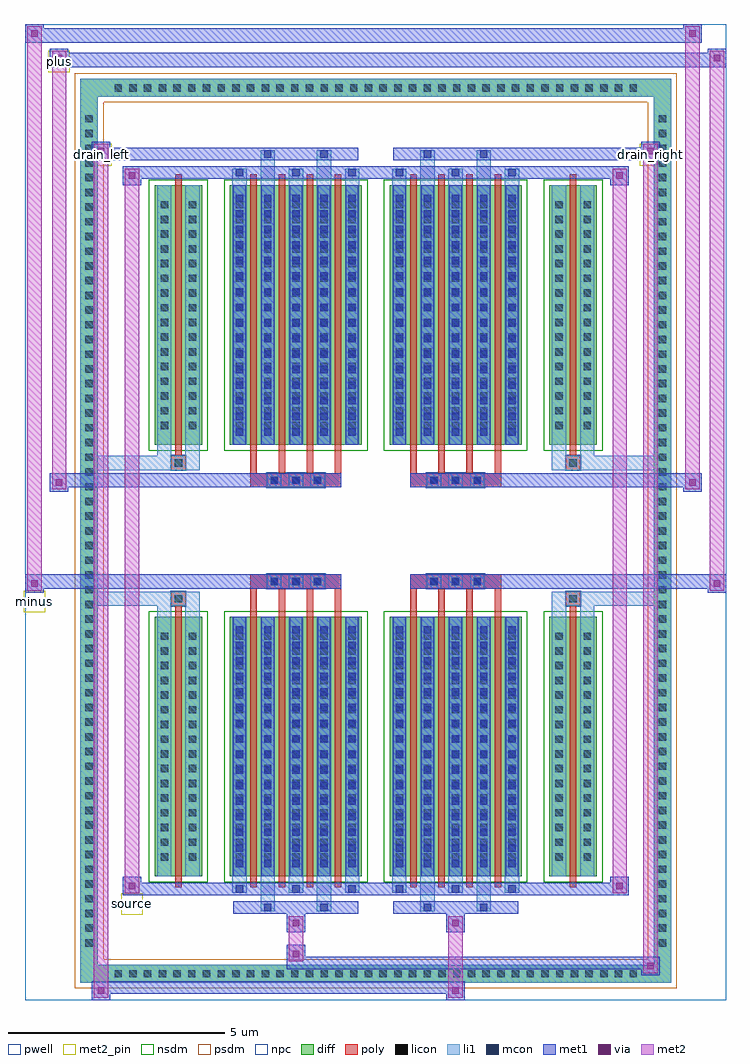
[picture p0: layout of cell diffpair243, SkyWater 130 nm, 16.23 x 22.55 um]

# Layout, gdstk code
import gdstk
lib = gdstk.Library(unit=1e-6, precision=5e-09)
def R(c, l, rs):  # rectangles x0, y0, x1, y1
    for r in rs: c.add(gdstk.rectangle(r[:2], r[2:], *l))
def A(c, l, x, y, w, h, nx, ny, dx, dy):  # array of equal rectangles
    R(c, l, [(x+i*dx, y+j*dy, x+i*dx+w, y+j*dy+h) for i in range(nx) for j in range(ny)])
def P(c, l, *ps):  # polygons
    for p in ps: c.add(gdstk.Polygon(p, *l))
pwell = (64, 44)
diff = (65, 20)
poly = (66, 20)
licon = (66, 44)
li1 = (67, 20)
mcon = (67, 44)
met1 = (68, 20)
via = (68, 44)
met2_pin = (69, 16)
met2 = (69, 20)
nsdm = (93, 44)
psdm = (94, 20)
npc = (95, 20)

diffpair243 = lib.new_cell('diffpair243')
R(diffpair243, pwell, [(-8.1,-10.84,8.1,11.71), (-5.42,-9.03,-0.01,-0.805), (0.01,-9.03,5.42,-0.805), (-5.42,0.805,-0.01,9.03), (0.01,0.805,5.42,9.03)])
A(diffpair243, diff, -6.155, -10.44, 0.41, 0.41, 36, 2, 0.34, 20.47)
A(diffpair243, diff, -6.83, -9.725, 0.41, 0.41, 1, 57, 0, 0.34)
A(diffpair243, diff, 6.42, -9.725, 0.41, 0.41, 1, 57, 0, 0.34)
R(diffpair243, diff, [(-6.155,-10.44,6.155,-10.03), (-6.83,-9.725,-6.42,9.725), (6.42,-9.725,6.83,9.725), (-5.11,-7.985,-4.01,-1.985), (-3.37,-7.985,-0.32,-1.985), (0.32,-7.985,3.37,-1.985), (4.01,-7.985,5.11,-1.985), (-5.11,1.985,-4.01,7.985), (-3.37,1.985,-0.32,7.985), (0.32,1.985,3.37,7.985), (4.01,1.985,5.11,7.985), (-6.155,10.03,6.155,10.44)])
P(diffpair243, diff, [(6.83,10.44),(-6.83,10.44),(-6.83,-10.03),(-6.42,-10.03),(-6.42,10.03),(6.42,10.03),(6.42,-10.03),(-6.42,-10.03),(-6.83,-10.03),(-6.83,-10.44),(6.83,-10.44)])
A(diffpair243, poly, -2.895, -8.235, 0.15, 6.5, 4, 2, 0.65, 9.97)
A(diffpair243, poly, 0.795, -8.235, 0.15, 6.5, 4, 2, 0.65, 9.97)
A(diffpair243, poly, -2.895, -1.735, 0.15, 0.4, 4, 2, 0.65, 3.07)
A(diffpair243, poly, 0.795, -1.735, 0.15, 0.4, 4, 2, 0.65, 3.07)
A(diffpair243, poly, -2.51, -1.335, 0.33, 0.33, 3, 2, 0.5, 2.34)
A(diffpair243, poly, 1.18, -1.335, 0.33, 0.33, 3, 2, 0.5, 2.34)
R(diffpair243, poly, [(-4.635,-8.235,-4.485,-1.735), (4.485,-8.235,4.635,-1.735), (-4.725,-1.735,-4.395,-1.405), (-4.725,-1.735,-4.395,-1.405), (4.395,-1.735,4.725,-1.405), (4.395,-1.735,4.725,-1.405), (-2.895,-1.335,-0.795,-1.005), (0.795,-1.335,2.895,-1.005), (-2.895,1.005,-0.795,1.335), (0.795,1.005,2.895,1.335), (-4.725,1.405,-4.395,1.735), (-4.725,1.405,-4.395,1.735), (4.395,1.405,4.725,1.735), (4.395,1.405,4.725,1.735), (-4.635,1.735,-4.485,8.235), (4.485,1.735,4.635,8.235)])
A(diffpair243, licon, -6.035, -10.32, 0.17, 0.17, 36, 2, 0.34, 20.47)
A(diffpair243, licon, -6.71, -9.605, 0.17, 0.17, 1, 57, 0, 0.34)
A(diffpair243, licon, 6.54, -9.605, 0.17, 0.17, 1, 57, 0, 0.34)
A(diffpair243, licon, -4.97, -7.62, 0.17, 0.17, 1, 16, 0, 0.34)
A(diffpair243, licon, -4.32, -7.62, 0.17, 0.17, 1, 16, 0, 0.34)
A(diffpair243, licon, -3.23, -7.62, 0.17, 0.17, 5, 16, 0.65, 0.34)
A(diffpair243, licon, 0.46, -7.62, 0.17, 0.17, 5, 16, 0.65, 0.34)
A(diffpair243, licon, 4.15, -7.62, 0.17, 0.17, 1, 16, 0, 0.34)
A(diffpair243, licon, 4.8, -7.62, 0.17, 0.17, 1, 16, 0, 0.34)
A(diffpair243, licon, -2.43, -1.255, 0.17, 0.17, 3, 2, 0.5, 2.34)
A(diffpair243, licon, 1.26, -1.255, 0.17, 0.17, 3, 2, 0.5, 2.34)
A(diffpair243, licon, -4.97, 2.35, 0.17, 0.17, 1, 16, 0, 0.34)
A(diffpair243, licon, -4.32, 2.35, 0.17, 0.17, 1, 16, 0, 0.34)
A(diffpair243, licon, -3.23, 2.35, 0.17, 0.17, 5, 16, 0.65, 0.34)
A(diffpair243, licon, 0.46, 2.35, 0.17, 0.17, 5, 16, 0.65, 0.34)
A(diffpair243, licon, 4.15, 2.35, 0.17, 0.17, 1, 16, 0, 0.34)
A(diffpair243, licon, 4.8, 2.35, 0.17, 0.17, 1, 16, 0, 0.34)
R(diffpair243, licon, [(-4.645,-1.655,-4.475,-1.485), (4.475,-1.655,4.645,-1.485), (-4.645,1.485,-4.475,1.655), (4.475,1.485,4.645,1.655)])
A(diffpair243, li1, -6.115, -10.4, 0.33, 0.33, 36, 2, 0.34, 20.47)
A(diffpair243, li1, -6.79, -9.685, 0.33, 0.33, 1, 57, 0, 0.34)
A(diffpair243, li1, 6.46, -9.685, 0.33, 0.33, 1, 57, 0, 0.34)
A(diffpair243, li1, -3.31, -8.36, 0.33, 0.375, 3, 2, 1.3, 16.345)
A(diffpair243, li1, -3.23, -8.36, 0.17, 0.17, 3, 2, 1.3, 16.55)
A(diffpair243, li1, 0.38, -8.36, 0.33, 0.375, 3, 2, 1.3, 16.345)
A(diffpair243, li1, 0.46, -8.36, 0.17, 0.17, 3, 2, 1.3, 16.55)
A(diffpair243, li1, -3.31, -7.985, 0.33, 6, 5, 2, 0.65, 9.97)
A(diffpair243, li1, 0.38, -7.985, 0.33, 6, 5, 2, 0.65, 9.97)
A(diffpair243, li1, -3.23, -7.77, 0.17, 0.17, 5, 16, 0.65, 0.36)
A(diffpair243, li1, -3.23, -7.77, 0.17, 5.57, 5, 2, 0.65, 9.97)
A(diffpair243, li1, 0.46, -7.77, 0.17, 0.17, 5, 16, 0.65, 0.36)
A(diffpair243, li1, 0.46, -7.77, 0.17, 5.57, 5, 2, 0.65, 9.97)
A(diffpair243, li1, -5.05, -7.7, 0.33, 0.33, 1, 16, 0, 0.34)
A(diffpair243, li1, -4.4, -7.7, 0.33, 0.33, 1, 16, 0, 0.34)
A(diffpair243, li1, -3.31, -7.7, 0.33, 0.33, 5, 16, 0.65, 0.34)
A(diffpair243, li1, 0.38, -7.7, 0.33, 0.33, 5, 16, 0.65, 0.34)
A(diffpair243, li1, 4.07, -7.7, 0.33, 0.33, 1, 16, 0, 0.34)
A(diffpair243, li1, 4.72, -7.7, 0.33, 0.33, 1, 16, 0, 0.34)
A(diffpair243, li1, -2.51, -1.335, 0.33, 0.33, 3, 2, 0.5, 2.34)
A(diffpair243, li1, 1.18, -1.335, 0.33, 0.33, 3, 2, 0.5, 2.34)
A(diffpair243, li1, -3.23, 2.2, 0.17, 0.17, 5, 16, 0.65, 0.36)
A(diffpair243, li1, 0.46, 2.2, 0.17, 0.17, 5, 16, 0.65, 0.36)
A(diffpair243, li1, -5.05, 2.27, 0.33, 0.33, 1, 16, 0, 0.34)
A(diffpair243, li1, -4.4, 2.27, 0.33, 0.33, 1, 16, 0, 0.34)
A(diffpair243, li1, -3.31, 2.27, 0.33, 0.33, 5, 16, 0.65, 0.34)
A(diffpair243, li1, 0.38, 2.27, 0.33, 0.33, 5, 16, 0.65, 0.34)
A(diffpair243, li1, 4.07, 2.27, 0.33, 0.33, 1, 16, 0, 0.34)
A(diffpair243, li1, 4.72, 2.27, 0.33, 0.33, 1, 16, 0, 0.34)
R(diffpair243, li1, [(-6.83,-10.44,-6.42,-10.03), (-6.83,-10.44,-6.42,-10.03), (-6.42,-10.44,6.42,-10.03), (6.42,-10.44,6.83,-10.03), (6.42,-10.44,6.83,-10.03), (-6.83,-10.03,-6.42,10.03), (6.42,-10.03,6.83,10.03), (-2.66,-8.79,-2.33,-7.985), (-2.58,-8.79,-2.41,-8.62), (-1.36,-8.79,-1.03,-7.985), (-1.28,-8.79,-1.11,-8.62), (1.03,-8.79,1.36,-7.985), (1.11,-8.79,1.28,-8.62), (2.33,-8.79,2.66,-7.985), (2.41,-8.79,2.58,-8.62), (-5.05,-7.985,-4.72,-1.985), (-4.4,-7.985,-4.07,-1.985), (4.07,-7.985,4.4,-1.985), (4.72,-7.985,5.05,-1.985), (-5.05,-1.985,-4.72,-1.405), (-4.4,-1.985,-4.07,-1.405), (4.07,-1.985,4.4,-1.405), (4.72,-1.985,5.05,-1.405), (-6.83,-1.735,-4.725,-1.405), (-5.05,-1.735,-4.725,-1.405), (-4.725,-1.735,-4.395,-1.405), (-4.395,-1.735,-4.07,-1.405), (4.07,-1.735,4.395,-1.405), (4.395,-1.735,4.725,-1.405), (4.395,-1.735,6.83,-1.405), (4.725,-1.735,5.05,-1.405), (-6.83,1.405,-4.725,1.735), (-5.05,1.405,-4.725,1.735), (-5.05,1.405,-4.72,1.985), (-4.725,1.405,-4.395,1.735), (-4.4,1.405,-4.07,1.985), (-4.395,1.405,-4.07,1.735), (4.07,1.405,4.395,1.735), (4.07,1.405,4.4,1.985), (4.395,1.405,4.725,1.735), (4.395,1.405,6.83,1.735), (4.72,1.405,5.05,1.985), (4.725,1.405,5.05,1.735), (-5.05,1.985,-4.72,7.985), (-4.4,1.985,-4.07,7.985), (4.07,1.985,4.4,7.985), (4.72,1.985,5.05,7.985), (-2.66,7.985,-2.33,8.79), (-1.36,7.985,-1.03,8.79), (1.03,7.985,1.36,8.79), (2.33,7.985,2.66,8.79), (-2.58,8.62,-2.41,8.79), (-1.28,8.62,-1.11,8.79), (1.11,8.62,1.28,8.79), (2.41,8.62,2.58,8.79), (-6.83,10.03,-6.42,10.44), (-6.83,10.03,-6.42,10.44), (-6.42,10.03,6.42,10.44), (6.42,10.03,6.83,10.44), (6.42,10.03,6.83,10.44)])
A(diffpair243, mcon, -3.23, -8.36, 0.17, 0.17, 3, 2, 1.3, 16.55)
A(diffpair243, mcon, 0.46, -8.36, 0.17, 0.17, 3, 2, 1.3, 16.55)
A(diffpair243, mcon, -3.23, -7.77, 0.17, 0.17, 5, 16, 0.65, 0.36)
A(diffpair243, mcon, 0.46, -7.77, 0.17, 0.17, 5, 16, 0.65, 0.36)
A(diffpair243, mcon, -2.43, -1.255, 0.17, 0.17, 3, 2, 0.5, 2.34)
A(diffpair243, mcon, 1.26, -1.255, 0.17, 0.17, 3, 2, 0.5, 2.34)
A(diffpair243, mcon, -3.23, 2.2, 0.17, 0.17, 5, 16, 0.65, 0.36)
A(diffpair243, mcon, 0.46, 2.2, 0.17, 0.17, 5, 16, 0.65, 0.36)
R(diffpair243, mcon, [(-2.58,-8.79,-2.41,-8.62), (-1.28,-8.79,-1.11,-8.62), (1.11,-8.79,1.28,-8.62), (2.41,-8.79,2.58,-8.62), (-2.58,8.62,-2.41,8.79), (-1.28,8.62,-1.11,8.79), (1.11,8.62,1.28,8.79), (2.41,8.62,2.58,8.79)])
A(diffpair243, met1, -3.29, -8.42, 0.29, 0.29, 3, 2, 1.3, 16.55)
A(diffpair243, met1, 0.4, -8.42, 0.29, 0.29, 3, 2, 1.3, 16.55)
A(diffpair243, met1, -3.29, -7.985, 0.29, 6, 5, 2, 0.65, 9.97)
A(diffpair243, met1, 0.4, -7.985, 0.29, 6, 5, 2, 0.65, 9.97)
A(diffpair243, met1, -3.29, -7.83, 0.29, 0.29, 5, 16, 0.65, 0.36)
A(diffpair243, met1, 0.4, -7.83, 0.29, 0.29, 5, 16, 0.65, 0.36)
A(diffpair243, met1, -2.49, -1.315, 0.29, 0.29, 3, 2, 0.5, 2.34)
A(diffpair243, met1, 1.2, -1.315, 0.29, 0.29, 3, 2, 0.5, 2.34)
A(diffpair243, met1, -3.29, 2.14, 0.29, 0.29, 5, 16, 0.65, 0.36)
A(diffpair243, met1, 0.4, 2.14, 0.29, 0.29, 5, 16, 0.65, 0.36)
R(diffpair243, met1, [(-6.56,-10.84,-6.13,-10.41), (1.63,-10.84,2.06,-10.41), (-6.56,-10.7,2.06,-10.41), (6.13,-10.27,6.56,-9.84), (-2.06,-10.13,6.56,-9.84), (-2.06,-9.99,-1.63,-9.56), (-2.06,-9.28,-1.63,-8.85), (1.63,-9.28,2.06,-8.85), (-3.29,-8.85,-0.4,-8.56), (-2.64,-8.85,-2.35,-8.56), (-1.34,-8.85,-1.05,-8.56), (0.4,-8.85,3.29,-8.56), (1.05,-8.85,1.34,-8.56), (2.35,-8.85,2.64,-8.56), (-5.85,-8.42,-5.42,-7.99), (-5.85,-8.42,-3.29,-8.13), (-3.29,-8.42,-0.4,-8.13), (-0.4,-8.42,0.4,-8.13), (0.4,-8.42,3.29,-8.13), (3.29,-8.42,5.85,-8.13), (5.42,-8.42,5.85,-7.99), (-8.1,-1.435,-7.67,-1.005), (7.67,-1.435,8.1,-1.005), (-8.1,-1.335,-0.795,-1.005), (-2.895,-1.335,-0.795,-1.005), (0.795,-1.335,2.895,-1.005), (0.795,-1.335,8.1,-1.005), (-7.53,0.905,-7.1,1.335), (7.1,0.905,7.53,1.335), (-7.53,1.005,-2.895,1.335), (-2.895,1.005,-0.795,1.335), (0.795,1.005,2.895,1.335), (2.895,1.005,7.53,1.335), (-5.85,7.99,-5.42,8.42), (5.42,7.99,5.85,8.42), (-5.85,8.13,-3.29,8.42), (-3.29,8.13,-0.4,8.42), (-0.4,8.13,0.4,8.42), (0.4,8.13,3.29,8.42), (3.29,8.13,5.85,8.42), (-6.56,8.56,-6.13,8.99), (-6.56,8.56,-3.29,8.85), (-3.29,8.56,-0.4,8.85), (-2.64,8.56,-2.35,8.85), (-1.34,8.56,-1.05,8.85), (0.4,8.56,3.29,8.85), (1.05,8.56,1.34,8.85), (2.35,8.56,2.64,8.85), (3.29,8.56,6.56,8.85), (6.13,8.56,6.56,8.99), (-7.53,10.71,-7.1,11.14), (-7.53,10.71,-5.42,11.04), (-5.42,10.71,5.42,11.04), (5.42,10.71,8.1,11.04), (7.67,10.71,8.1,11.14), (-8.1,11.28,-7.67,11.71), (-8.1,11.28,-5.42,11.61), (-5.42,11.28,5.42,11.61), (5.42,11.28,7.53,11.61), (7.1,11.28,7.53,11.71)])
R(diffpair243, via, [(-6.42,-10.7,-6.27,-10.55), (1.77,-10.7,1.92,-10.55), (6.27,-10.13,6.42,-9.98), (-1.92,-9.85,-1.77,-9.7), (-1.92,-9.14,-1.77,-8.99), (1.77,-9.14,1.92,-8.99), (-5.71,-8.28,-5.56,-8.13), (5.56,-8.28,5.71,-8.13), (-7.96,-1.295,-7.81,-1.145), (7.81,-1.295,7.96,-1.145), (-7.39,1.045,-7.24,1.195), (7.24,1.045,7.39,1.195), (-5.71,8.13,-5.56,8.28), (5.56,8.13,5.71,8.28), (-6.42,8.7,-6.27,8.85), (6.27,8.7,6.42,8.85), (-7.39,10.85,-7.24,11), (7.81,10.85,7.96,11), (-7.96,11.42,-7.81,11.57), (7.24,11.42,7.39,11.57)])
R(diffpair243, met2_pin, [(-5.885,-8.87,-5.385,-8.37), (-8.135,-1.885,-7.635,-1.385), (-6.595,8.44,-6.095,8.94), (6.095,8.44,6.595,8.94), (-7.565,10.59,-7.065,11.09)])
R(diffpair243, met2, [(-6.51,-10.79,-6.18,-10.46), (-6.51,-10.79,-6.18,8.94), (1.68,-10.79,2.01,-10.46), (1.68,-10.46,2.01,-9.23), (6.18,-10.22,6.51,-9.89), (6.18,-10.22,6.51,8.94), (-2.01,-9.94,-1.68,-9.61), (-2.01,-9.61,-1.68,-9.23), (-2.01,-9.23,-1.68,-8.9), (1.68,-9.23,2.01,-8.9), (-5.8,-8.37,-5.47,-8.04), (-5.8,-8.37,-5.47,8.37), (5.47,-8.37,5.8,-8.04), (5.47,-8.37,5.8,8.37), (-8.05,-1.385,-7.72,-1.055), (-8.05,-1.385,-7.72,11.66), (7.72,-1.385,8.05,-1.055), (7.72,-1.385,8.05,11.09), (-7.48,0.955,-7.15,1.285), (-7.48,0.955,-7.15,11.09), (7.15,0.955,7.48,1.285), (7.15,0.955,7.48,11.66), (-5.8,8.04,-5.47,8.37), (5.47,8.04,5.8,8.37), (-6.51,8.61,-6.18,8.94), (6.18,8.61,6.51,8.94), (-7.48,10.76,-7.15,11.09), (7.72,10.76,8.05,11.09), (-8.05,11.33,-7.72,11.66), (7.15,11.33,7.48,11.66)])
P(diffpair243, met2, [(8.05,-1.385),(8.05,-1.385),(8.05,-1.055),(8.05,-1.055)],
  [(8.05,10.76),(8.05,10.76),(8.05,11.09),(8.05,11.09)],
  [(-7.72,-1.385),(-7.72,-1.385),(-7.72,-1.055),(-7.72,-1.055)],
  [(-7.72,11.33),(-7.72,11.33),(-7.72,11.66),(-7.72,11.66)],
  [(7.48,0.955),(7.48,0.955),(7.48,1.285),(7.48,1.285)],
  [(7.48,11.33),(7.48,11.33),(7.48,11.66),(7.48,11.66)],
  [(-7.15,0.955),(-7.15,0.955),(-7.15,1.285),(-7.15,1.285)],
  [(-7.15,10.76),(-7.15,10.76),(-7.15,11.09),(-7.15,11.09)],
  [(-6.18,-10.79),(-6.18,-10.79),(-6.18,-10.46),(-6.18,-10.46)],
  [(-6.18,8.61),(-6.18,8.61),(-6.18,8.94),(-6.18,8.94)],
  [(6.51,-10.22),(6.51,-10.22),(6.51,-9.89),(6.51,-9.89)],
  [(6.51,8.61),(6.51,8.61),(6.51,8.94),(6.51,8.94)],
  [(-5.47,-8.37),(-5.47,-8.37),(-5.47,-8.04),(-5.47,-8.04)],
  [(-5.47,8.04),(-5.47,8.04),(-5.47,8.37),(-5.47,8.37)],
  [(5.8,-8.37),(5.8,-8.37),(5.8,-8.04),(5.8,-8.04)],
  [(5.8,8.04),(5.8,8.04),(5.8,8.37),(5.8,8.37)])
R(diffpair243, nsdm, [(-5.24,-8.115,-3.88,-1.855), (-3.5,-8.115,-0.19,-1.855), (0.19,-8.115,3.5,-1.855), (3.88,-8.115,5.24,-1.855), (-5.24,1.855,-3.88,8.115), (-3.5,1.855,-0.19,8.115), (0.19,1.855,3.5,8.115), (3.88,1.855,5.24,8.115)])
P(diffpair243, psdm, [(6.96,10.57),(-6.96,10.57),(-6.96,-9.9),(-6.29,-9.9),(-6.29,9.9),(6.29,9.9),(6.29,-9.9),(-6.29,-9.9),(-6.96,-9.9),(-6.96,-10.57),(6.96,-10.57)])
A(diffpair243, npc, -2.53, -1.355, 0.37, 0.37, 3, 2, 0.5, 2.34)
A(diffpair243, npc, 1.16, -1.355, 0.37, 0.37, 3, 2, 0.5, 2.34)
R(diffpair243, npc, [(-4.745,-1.755,-4.375,-1.385), (4.375,-1.755,4.745,-1.385), (-2.53,-1.355,-1.66,-0.985), (-2.53,-1.355,-1.66,-0.985), (-2.03,-1.355,-1.16,-0.985), (-2.03,-1.355,-1.16,-0.985), (1.16,-1.355,2.03,-0.985), (1.16,-1.355,2.03,-0.985), (1.66,-1.355,2.53,-0.985), (1.66,-1.355,2.53,-0.985), (-2.53,0.985,-1.66,1.355), (-2.53,0.985,-1.66,1.355), (-2.03,0.985,-1.16,1.355), (-2.03,0.985,-1.16,1.355), (1.16,0.985,2.03,1.355), (1.16,0.985,2.03,1.355), (1.66,0.985,2.53,1.355), (1.66,0.985,2.53,1.355), (-4.745,1.385,-4.375,1.755), (4.375,1.385,4.745,1.755)])
diffpair243.add(gdstk.Label('minus', (-7.885,-1.635), layer=69, texttype=5))
diffpair243.add(gdstk.Label('drain_right', (6.345,8.69), layer=69, texttype=5))
diffpair243.add(gdstk.Label('drain_left', (-6.345,8.69), layer=69, texttype=5))
diffpair243.add(gdstk.Label('source', (-5.635,-8.62), layer=69, texttype=5))
diffpair243.add(gdstk.Label('plus', (-7.315,10.84), layer=69, texttype=5))

lib.write_gds('diffpair243.gds')
